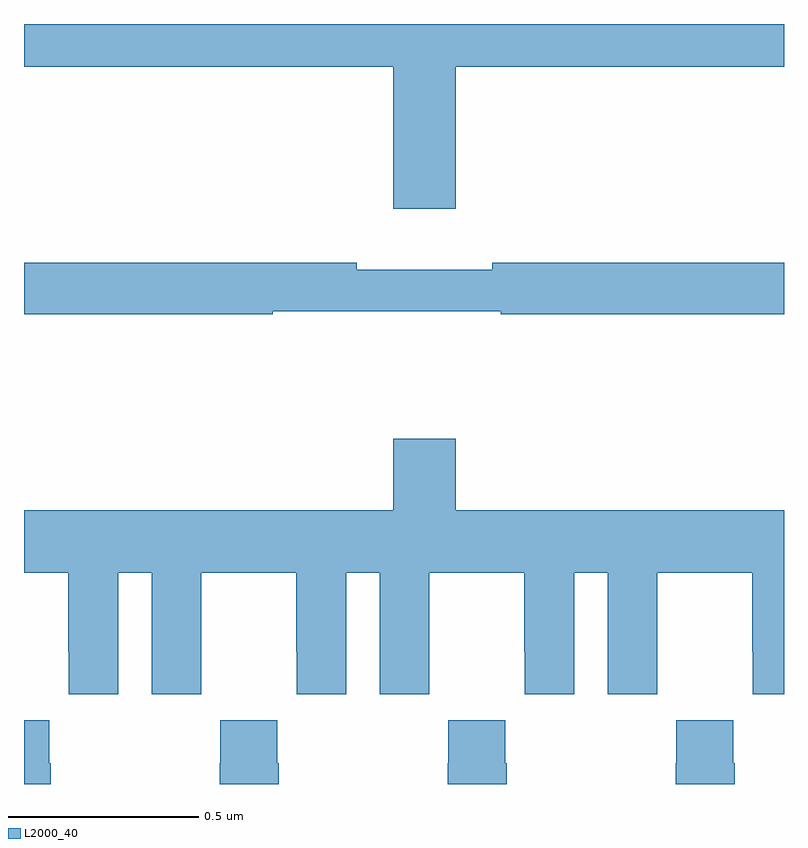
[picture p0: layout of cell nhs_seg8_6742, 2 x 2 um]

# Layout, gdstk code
import gdstk
lib = gdstk.Library(unit=1e-6, precision=1e-09)
def P(c, l, *ps):  # polygons
    for p in ps: c.add(gdstk.Polygon(p, *l))
L2000_40 = (2000, 40)

nhs_seg8_6742 = lib.new_cell('nhs_seg8_6742')
P(nhs_seg8_6742, L2000_40, [(201.136,1161.788),(202,1161.788),(202,1161.9),(200,1161.9),(200,1161.788),(200.972,1161.788),(200.972,1161.414),(201.136,1161.414)],
  [(200.655,1161.144),(201.255,1161.144),(201.255,1161.136),(202,1161.136),(202,1161.272),(201.232,1161.272),(201.232,1161.253),(200.876,1161.253),(200.876,1161.272),(200,1161.272),(200,1161.136),(200.655,1161.136)],
  [(200,1160.456),(200.117,1160.456),(200.117,1160.248),(200.118,1160.248),(200.118,1160.136),(200.248,1160.136),(200.248,1160.456),(200.336,1160.456),(200.336,1160.136),(200.466,1160.136),(200.466,1160.248),(200.467,1160.248),(200.467,1160.456),(200.717,1160.456),(200.717,1160.248),(200.718,1160.248),(200.718,1160.136),(200.848,1160.136),(200.848,1160.456),(200.936,1160.456),(200.936,1160.136),(201.066,1160.136),(201.066,1160.248),(201.067,1160.248),(201.067,1160.456),(201.317,1160.456),(201.317,1160.248),(201.318,1160.248),(201.318,1160.136),(201.448,1160.136),(201.448,1160.456),(201.536,1160.456),(201.536,1160.136),(201.666,1160.136),(201.666,1160.248),(201.667,1160.248),(201.667,1160.456),(201.917,1160.456),(201.917,1160.248),(201.918,1160.248),(201.918,1160.136),(202,1160.136),(202,1160.62),(201.136,1160.62),(201.136,1160.809),(200.972,1160.809),(200.972,1160.62),(200,1160.62)],
  [(201.87,1159.955),(201.867,1159.955),(201.867,1160.068),(201.717,1160.068),(201.717,1159.955),(201.715,1159.955),(201.715,1159.9),(201.87,1159.9)],
  [(201.27,1159.955),(201.267,1159.955),(201.267,1160.068),(201.117,1160.068),(201.117,1159.955),(201.115,1159.955),(201.115,1159.9),(201.27,1159.9)],
  [(200.67,1159.955),(200.667,1159.955),(200.667,1160.068),(200.517,1160.068),(200.517,1159.955),(200.515,1159.955),(200.515,1159.9),(200.67,1159.9)],
  [(200.07,1159.955),(200.067,1159.955),(200.067,1160.068),(200,1160.068),(200,1159.9),(200.07,1159.9)])

lib.write_gds('nhs_seg8_6742.gds')
